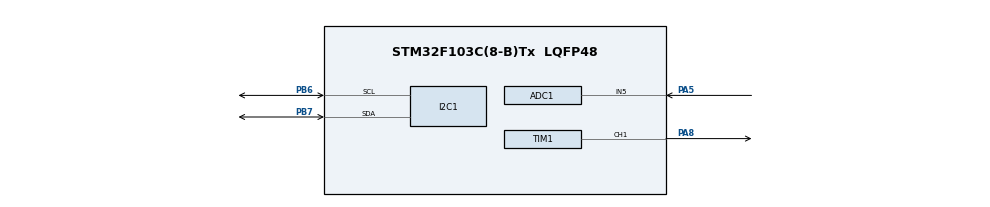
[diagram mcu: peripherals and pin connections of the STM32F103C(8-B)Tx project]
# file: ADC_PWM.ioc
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ADC1.Channel-0\#ChannelRegularConversion=ADC_CHANNEL_5
ADC1.ContinuousConvMode=ENABLE
ADC1.NbrOfConversionFlag=1
ADC1.Rank-0\#ChannelRegularConversion=1
ADC1.SamplingTime-0\#ChannelRegularConversion=ADC_SAMPLETIME_55CYCLES_5
ADC1.master=1
Mcu.Family=STM32F1
Mcu.Name=STM32F103C(8-B)Tx
Mcu.Package=LQFP48
NVIC.ADC1_2_IRQn=true\:1\:0\:true\:false\:true\:true\:true\:true
NVIC.PriorityGroup=NVIC_PRIORITYGROUP_4
PA13.Mode=Serial_Wire
PA13.Signal=SYS_JTMS-SWDIO
PA14.Mode=Serial_Wire
PA14.Signal=SYS_JTCK-SWCLK
PA5.Signal=ADCx_IN5
PA8.Signal=S_TIM1_CH1
PB6.Mode=I2C
PB6.Signal=I2C1_SCL
PB7.Mode=I2C
PB7.Signal=I2C1_SDA
PC14-OSC32_IN.Mode=LSE-External-Oscillator
PC14-OSC32_IN.Signal=RCC_OSC32_IN
PC15-OSC32_OUT.Mode=LSE-External-Oscillator
PC15-OSC32_OUT.Signal=RCC_OSC32_OUT
ProjectManager.HeapSize=0x200
ProjectManager.StackSize=0x400
ProjectManager.TargetToolchain=MDK-ARM V5.32
RCC.APB1Freq_Value=8000000
RCC.APB2Freq_Value=8000000
SH.ADCx_IN5.0=ADC1_IN5,IN5
SH.S_TIM1_CH1.0=TIM1_CH1,PWM Generation1 CH1
TIM1.Channel-PWM\ Generation1\ CH1=TIM_CHANNEL_1
TIM1.Period=999
TIM1.Prescaler=79
TIM1.Pulse-PWM\ Generation1\ CH1=199
VP_TIM1_VS_ClockSourceINT.Mode=Internal
board=custom

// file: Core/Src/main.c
/* USER CODE BEGIN Header */
/**
  ******************************************************************************
  * @file           : main.c
  * @brief          : Main program body
  ******************************************************************************
  * @attention
  *
  * Copyright (c) 2024 STMicroelectronics.
  * All rights reserved.
  *
  * This software is licensed under terms that can be found in the LICENSE file
  * in the root directory of this software component.
  * If no LICENSE file comes with this software, it is provided AS-IS.
  *
  ******************************************************************************
  */
/* USER CODE END Header */
#include "main.h"

/* USER CODE BEGIN Includes */
#include <math.h>
#include <stdio.h>
#include <CLCD_I2C.h>
/* USER CODE END Includes */

/* USER CODE BEGIN PTD */
uint32_t result = 0;
float volt;
char convert[5];
/* USER CODE END PTD */

ADC_HandleTypeDef hadc1;

I2C_HandleTypeDef hi2c1;

TIM_HandleTypeDef htim1;

/* USER CODE BEGIN PV */
CLCD_I2C_Name LCD1;
/* USER CODE END PV */

void SystemClock_Config(void);
static void MX_GPIO_Init(void);
static void MX_ADC1_Init(void);
static void MX_TIM1_Init(void);
static void MX_I2C1_Init(void);

int main(void)
{

  /* MCU Configuration--------------------------------------------------------*/

  /* Reset of all peripherals, Initializes the Flash interface and the Systick. */
  HAL_Init();

  /* Configure the system clock */
  SystemClock_Config();

  /* Initialize all configured peripherals */
  MX_GPIO_Init();
  MX_ADC1_Init();
  MX_TIM1_Init();
  MX_I2C1_Init();
  /* USER CODE BEGIN 2 */
	HAL_ADC_Start_IT(&hadc1);
	HAL_TIM_PWM_Start(&htim1, TIM_CHANNEL_1);
	CLCD_I2C_Init(&LCD1,&hi2c1,0x4e,16,2);
	CLCD_I2C_SetCursor(&LCD1,0,0);
	CLCD_I2C_WriteString(&LCD1,"Volt: ");
	CLCD_I2C_SetCursor(&LCD1,0,1);
	CLCD_I2C_WriteString(&LCD1,"ADC: ");
  /* USER CODE END 2 */

  /* Infinite loop */
  while (1)
  {

    /* USER CODE BEGIN 3 */
		__HAL_TIM_SetCompare(&htim1, TIM_CHANNEL_1,result);

		//HAL_ADC_Start(&hadc1);
		result = HAL_ADC_GetValue(&hadc1);
		volt = (result*3.3)/3450;

		sprintf(convert, "%.2f", volt);
		CLCD_I2C_SetCursor(&LCD1,6,0);
		CLCD_I2C_WriteString(&LCD1,convert);

		sprintf(convert, "%d", result);
		CLCD_I2C_SetCursor(&LCD1,5,1);
		CLCD_I2C_WriteString(&LCD1,convert);
		//HAL_ADC_Stop(&hadc1);
		HAL_Delay(250);
  }
  /* USER CODE END 3 */
}

void SystemClock_Config(void)
{
  RCC_OscInitTypeDef RCC_OscInitStruct = {0};
  RCC_ClkInitTypeDef RCC_ClkInitStruct = {0};
  RCC_PeriphCLKInitTypeDef PeriphClkInit = {0};

  /** Initializes the RCC Oscillators according to the specified parameters
  * in the RCC_OscInitTypeDef structure.
  */
  RCC_OscInitStruct.OscillatorType = RCC_OSCILLATORTYPE_HSI;
  RCC_OscInitStruct.HSIState = RCC_HSI_ON;
  RCC_OscInitStruct.HSICalibrationValue = RCC_HSICALIBRATION_DEFAULT;
  RCC_OscInitStruct.PLL.PLLState = RCC_PLL_NONE;
  if (HAL_RCC_OscConfig(&RCC_OscInitStruct) != HAL_OK)
  {
    Error_Handler();
  }

  /** Initializes the CPU, AHB and APB buses clocks
  */
  RCC_ClkInitStruct.ClockType = RCC_CLOCKTYPE_HCLK|RCC_CLOCKTYPE_SYSCLK
                              |RCC_CLOCKTYPE_PCLK1|RCC_CLOCKTYPE_PCLK2;
  RCC_ClkInitStruct.SYSCLKSource = RCC_SYSCLKSOURCE_HSI;
  RCC_ClkInitStruct.AHBCLKDivider = RCC_SYSCLK_DIV1;
  RCC_ClkInitStruct.APB1CLKDivider = RCC_HCLK_DIV1;
  RCC_ClkInitStruct.APB2CLKDivider = RCC_HCLK_DIV1;

  if (HAL_RCC_ClockConfig(&RCC_ClkInitStruct, FLASH_LATENCY_0) != HAL_OK)
  {
    Error_Handler();
  }
  PeriphClkInit.PeriphClockSelection = RCC_PERIPHCLK_ADC;
  PeriphClkInit.AdcClockSelection = RCC_ADCPCLK2_DIV2;
  if (HAL_RCCEx_PeriphCLKConfig(&PeriphClkInit) != HAL_OK)
  {
    Error_Handler();
  }
}

static void MX_ADC1_Init(void)
{

  ADC_ChannelConfTypeDef sConfig = {0};

  /** Common config
  */
  hadc1.Instance = ADC1;
  hadc1.Init.ScanConvMode = ADC_SCAN_DISABLE;
  hadc1.Init.ContinuousConvMode = ENABLE;
  hadc1.Init.DiscontinuousConvMode = DISABLE;
  hadc1.Init.ExternalTrigConv = ADC_SOFTWARE_START;
  hadc1.Init.DataAlign = ADC_DATAALIGN_RIGHT;
  hadc1.Init.NbrOfConversion = 1;
  if (HAL_ADC_Init(&hadc1) != HAL_OK)
  {
    Error_Handler();
  }

  /** Configure Regular Channel
  */
  sConfig.Channel = ADC_CHANNEL_5;
  sConfig.Rank = ADC_REGULAR_RANK_1;
  sConfig.SamplingTime = ADC_SAMPLETIME_55CYCLES_5;
  if (HAL_ADC_ConfigChannel(&hadc1, &sConfig) != HAL_OK)
  {
    Error_Handler();
  }

}

static void MX_I2C1_Init(void)
{

  hi2c1.Instance = I2C1;
  hi2c1.Init.ClockSpeed = 100000;
  hi2c1.Init.DutyCycle = I2C_DUTYCYCLE_2;
  hi2c1.Init.OwnAddress1 = 0;
  hi2c1.Init.AddressingMode = I2C_ADDRESSINGMODE_7BIT;
  hi2c1.Init.DualAddressMode = I2C_DUALADDRESS_DISABLE;
  hi2c1.Init.OwnAddress2 = 0;
  hi2c1.Init.GeneralCallMode = I2C_GENERALCALL_DISABLE;
  hi2c1.Init.NoStretchMode = I2C_NOSTRETCH_DISABLE;
  if (HAL_I2C_Init(&hi2c1) != HAL_OK)
  {
    Error_Handler();
  }

}

static void MX_TIM1_Init(void)
{

  TIM_ClockConfigTypeDef sClockSourceConfig = {0};
  TIM_MasterConfigTypeDef sMasterConfig = {0};
  TIM_OC_InitTypeDef sConfigOC = {0};
  TIM_BreakDeadTimeConfigTypeDef sBreakDeadTimeConfig = {0};

  htim1.Instance = TIM1;
  htim1.Init.Prescaler = 79;
  htim1.Init.CounterMode = TIM_COUNTERMODE_UP;
  htim1.Init.Period = 999;
  htim1.Init.ClockDivision = TIM_CLOCKDIVISION_DIV1;
  htim1.Init.RepetitionCounter = 0;
  htim1.Init.AutoReloadPreload = TIM_AUTORELOAD_PRELOAD_DISABLE;
  if (HAL_TIM_Base_Init(&htim1) != HAL_OK)
  {
    Error_Handler();
  }
  sClockSourceConfig.ClockSource = TIM_CLOCKSOURCE_INTERNAL;
  if (HAL_TIM_ConfigClockSource(&htim1, &sClockSourceConfig) != HAL_OK)
  {
    Error_Handler();
  }
  if (HAL_TIM_PWM_Init(&htim1) != HAL_OK)
  {
    Error_Handler();
  }
  sMasterConfig.MasterOutputTrigger = TIM_TRGO_RESET;
  sMasterConfig.MasterSlaveMode = TIM_MASTERSLAVEMODE_DISABLE;
  if (HAL_TIMEx_MasterConfigSynchronization(&htim1, &sMasterConfig) != HAL_OK)
  {
    Error_Handler();
  }
  sConfigOC.OCMode = TIM_OCMODE_PWM1;
  sConfigOC.Pulse = 199;
  sConfigOC.OCPolarity = TIM_OCPOLARITY_HIGH;
  sConfigOC.OCNPolarity = TIM_OCNPOLARITY_HIGH;
  sConfigOC.OCFastMode = TIM_OCFAST_DISABLE;
  sConfigOC.OCIdleState = TIM_OCIDLESTATE_RESET;
  sConfigOC.OCNIdleState = TIM_OCNIDLESTATE_RESET;
  if (HAL_TIM_PWM_ConfigChannel(&htim1, &sConfigOC, TIM_CHANNEL_1) != HAL_OK)
  {
    Error_Handler();
  }
  sBreakDeadTimeConfig.OffStateRunMode = TIM_OSSR_DISABLE;
  sBreakDeadTimeConfig.OffStateIDLEMode = TIM_OSSI_DISABLE;
  sBreakDeadTimeConfig.LockLevel = TIM_LOCKLEVEL_OFF;
  sBreakDeadTimeConfig.DeadTime = 0;
  sBreakDeadTimeConfig.BreakState = TIM_BREAK_DISABLE;
  sBreakDeadTimeConfig.BreakPolarity = TIM_BREAKPOLARITY_HIGH;
  sBreakDeadTimeConfig.AutomaticOutput = TIM_AUTOMATICOUTPUT_DISABLE;
  if (HAL_TIMEx_ConfigBreakDeadTime(&htim1, &sBreakDeadTimeConfig) != HAL_OK)
  {
    Error_Handler();
  }
  HAL_TIM_MspPostInit(&htim1);

}

static void MX_GPIO_Init(void)
{

  /* GPIO Ports Clock Enable */
  __HAL_RCC_GPIOC_CLK_ENABLE();
  __HAL_RCC_GPIOA_CLK_ENABLE();
  __HAL_RCC_GPIOB_CLK_ENABLE();

}

/* USER CODE BEGIN 4 */
void HAL_ADC_ConvCpltCallback(ADC_HandleTypeDef* hadc)
{
	if(hadc ->Instance == hadc1.Instance){
		result = HAL_ADC_GetValue(&hadc1);
	}
}
/* USER CODE END 4 */

void Error_Handler(void)
{
  __disable_irq();
  while (1)
  {
  }
}
